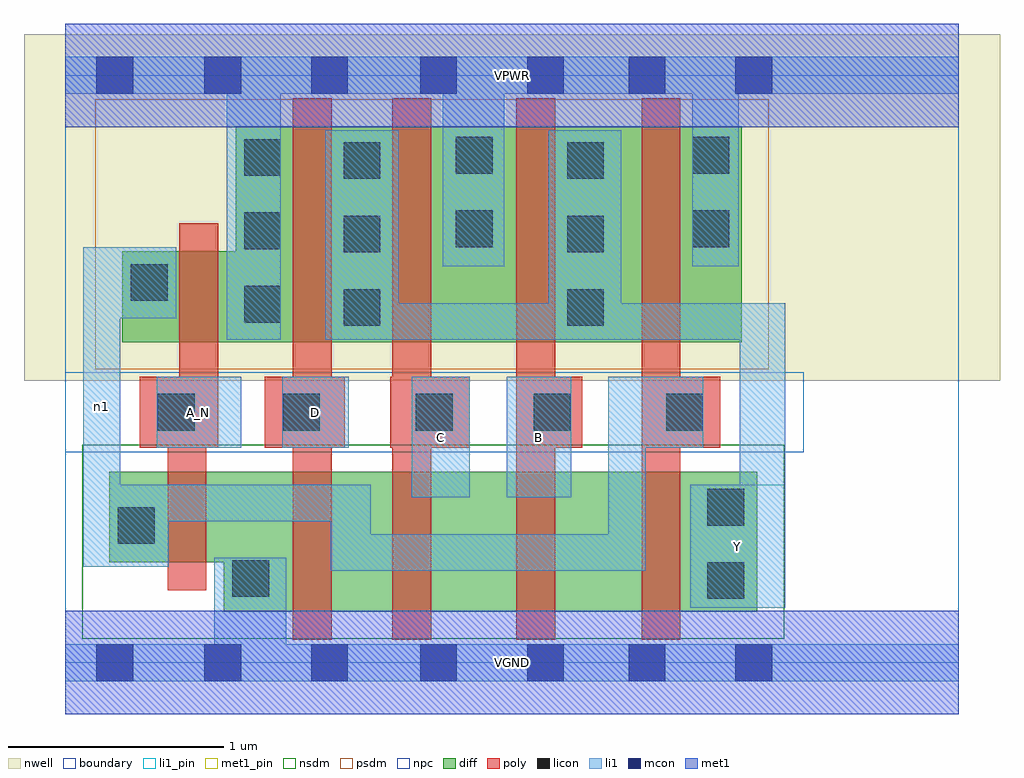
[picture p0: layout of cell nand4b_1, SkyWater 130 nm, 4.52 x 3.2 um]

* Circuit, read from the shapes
.subckt nand4b_1 A_N B C D VGND VPWR Y n1
XM1 VGND A_N n1 VSUBS sky130_fd_pr__nfet_01v8 w=0.42 l=0.18
XM2 n2 D VGND VSUBS sky130_fd_pr__nfet_01v8 w=0.65 l=0.18
XM3 n3 C n2 VSUBS sky130_fd_pr__nfet_01v8 w=0.65 l=0.18
XM4 n4 B n3 VSUBS sky130_fd_pr__nfet_01v8 w=0.65 l=0.18
XM5 Y n1 n4 VSUBS sky130_fd_pr__nfet_01v8 w=0.65 l=0.18
XM6 VPWR A_N n1 n5 sky130_fd_pr__pfet_01v8 w=0.42 l=0.18
XM7 Y D VPWR n5 sky130_fd_pr__pfet_01v8 w=1 l=0.18
XM8 VPWR C Y n5 sky130_fd_pr__pfet_01v8 w=1 l=0.18
XM9 Y B VPWR n5 sky130_fd_pr__pfet_01v8 w=1 l=0.18
XM10 VPWR n1 Y n5 sky130_fd_pr__pfet_01v8 w=1 l=0.18
.ends

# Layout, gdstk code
import gdstk
lib = gdstk.Library(unit=1e-6, precision=1e-09)
def R(c, l, rs):  # rectangles x0, y0, x1, y1
    for r in rs: c.add(gdstk.rectangle(r[:2], r[2:], *l))
def A(c, l, x, y, w, h, nx, ny, dx, dy):  # array of equal rectangles
    R(c, l, [(x+i*dx, y+j*dy, x+i*dx+w, y+j*dy+h) for i in range(nx) for j in range(ny)])
nwell = (64, 20)
diff = (65, 20)
poly = (66, 20)
licon = (66, 44)
li1_pin = (67, 16)
li1 = (67, 20)
mcon = (67, 44)
met1_pin = (68, 16)
met1 = (68, 20)
nsdm = (93, 44)
psdm = (94, 20)
npc = (95, 20)
boundary = (235, 4)

nand4b_1 = lib.new_cell('nand4b_1')
R(nand4b_1, nwell, [(-0.19,1.305,4.33,2.91), (0,1.305,4.14,2.91)])
R(nand4b_1, diff, [(0.735,0.235,3.205,0.885), (0.205,0.465,3.205,0.885), (0.265,1.485,3.135,1.905), (0.79,1.485,3.135,2.485)])
R(nand4b_1, poly, [(1.055,0.105,1.235,2.615), (1.515,0.105,1.695,2.615), (2.09,0.105,2.27,2.615), (2.67,0.105,2.85,2.615), (0.475,0.335,0.655,1.325), (0.345,0.995,0.71,1.325), (0.53,0.995,0.71,2.035), (0.925,0.995,1.295,1.325), (1.505,0.995,1.875,1.325), (2.09,0.995,2.395,1.325), (2.67,0.995,3.035,1.325)])
A(nand4b_1, licon, 1.29, 1.56, 0.17, 0.17, 1, 3, 0, 0.34)
A(nand4b_1, licon, 2.325, 1.56, 0.17, 0.17, 1, 3, 0, 0.34)
A(nand4b_1, licon, 0.83, 1.575, 0.17, 0.17, 1, 3, 0, 0.34)
R(nand4b_1, licon, [(2.975,0.295,3.145,0.465), (0.775,0.305,0.945,0.475), (0.245,0.55,0.415,0.72), (2.975,0.635,3.145,0.805), (0.43,1.075,0.6,1.245), (1.01,1.075,1.18,1.245), (1.625,1.075,1.795,1.245), (2.17,1.075,2.34,1.245), (2.785,1.075,2.955,1.245), (0.305,1.675,0.475,1.845), (1.81,1.925,1.98,2.095), (2.905,1.925,3.075,2.095), (1.81,2.265,1.98,2.435), (2.905,2.265,3.075,2.435)])
R(nand4b_1, li1_pin, [(2.895,0.255,3.335,0.825), (1.605,0.765,1.875,1.325), (2.045,0.765,2.345,1.325), (0.425,0.995,0.815,1.325), (1.005,0.995,1.315,1.325)])
R(nand4b_1, li1, [(0,-0.085,4.14,0.085), (0.69,-0.085,1.025,0.485), (2.895,0.255,3.335,0.825), (3.125,0.255,3.335,1.665), (1.23,0.425,2.69,0.595), (1.23,0.425,1.415,0.825), (2.515,0.425,2.69,1.325), (0.085,0.445,0.255,1.925), (0.085,0.445,0.48,0.825), (0.085,0.655,1.415,0.825), (1.605,0.765,1.875,1.325), (2.045,0.765,2.345,1.325), (0.425,0.995,0.815,1.325), (1.005,0.995,1.315,1.325), (2.515,0.995,2.955,1.325), (0.75,1.495,1,2.805), (1.205,1.495,3.335,1.665), (1.205,1.495,1.545,2.465), (2.24,1.495,2.575,2.465), (0.085,1.595,0.515,1.925), (1.75,1.835,2.035,2.805), (2.905,1.835,3.12,2.805), (0,2.635,4.14,2.805)])
R(nand4b_1, mcon, [(0.145,-0.085,0.315,0.085), (0.645,-0.085,0.815,0.085), (1.14,-0.085,1.31,0.085), (1.645,-0.085,1.815,0.085), (2.14,-0.085,2.31,0.085), (2.61,-0.085,2.78,0.085), (3.105,-0.085,3.275,0.085), (0.145,2.635,0.315,2.805), (0.645,2.635,0.815,2.805), (1.14,2.635,1.31,2.805), (1.645,2.635,1.815,2.805), (2.14,2.635,2.31,2.805), (2.61,2.635,2.78,2.805), (3.105,2.635,3.275,2.805)])
R(nand4b_1, met1_pin, [(0,-0.24,4.14,0.24), (0,2.48,4.14,2.96)])
R(nand4b_1, met1, [(0,-0.24,4.14,0.24), (0,2.48,4.14,2.96)])
R(nand4b_1, nsdm, [(0.08,0.11,3.33,1.01)])
R(nand4b_1, psdm, [(0.14,1.36,3.26,2.61)])
R(nand4b_1, npc, [(0,0.975,3.42,1.345)])
R(nand4b_1, boundary, [(0,0,4.14,2.72)])
nand4b_1.add(gdstk.Label('A_N', (0.62,1.16), layer=67, texttype=5))
nand4b_1.add(gdstk.Label('B', (2.195,1.045), layer=67, texttype=5))
nand4b_1.add(gdstk.Label('C', (1.74,1.045), layer=67, texttype=5))
nand4b_1.add(gdstk.Label('D', (1.16,1.16), layer=67, texttype=5))
nand4b_1.add(gdstk.Label('Y', (3.115,0.54), layer=67, texttype=5))
nand4b_1.add(gdstk.Label('n1', (0.17,1.185), layer=67, texttype=5))
nand4b_1.add(gdstk.Label('VPWR', (2.07,2.72), layer=68, texttype=5))
nand4b_1.add(gdstk.Label('VGND', (2.07,0), layer=68, texttype=5))
nand4b_1.add(gdstk.Label('A_N', (0.62,1.16), layer=67, texttype=16))
nand4b_1.add(gdstk.Label('B', (2.195,1.045), layer=67, texttype=16))
nand4b_1.add(gdstk.Label('C', (1.74,1.045), layer=67, texttype=16))
nand4b_1.add(gdstk.Label('D', (1.16,1.16), layer=67, texttype=16))
nand4b_1.add(gdstk.Label('Y', (3.115,0.54), layer=67, texttype=16))
nand4b_1.add(gdstk.Label('VPWR', (2.07,2.72), layer=68, texttype=16))
nand4b_1.add(gdstk.Label('VGND', (2.07,0), layer=68, texttype=16))

lib.write_gds('nand4b_1.gds')
